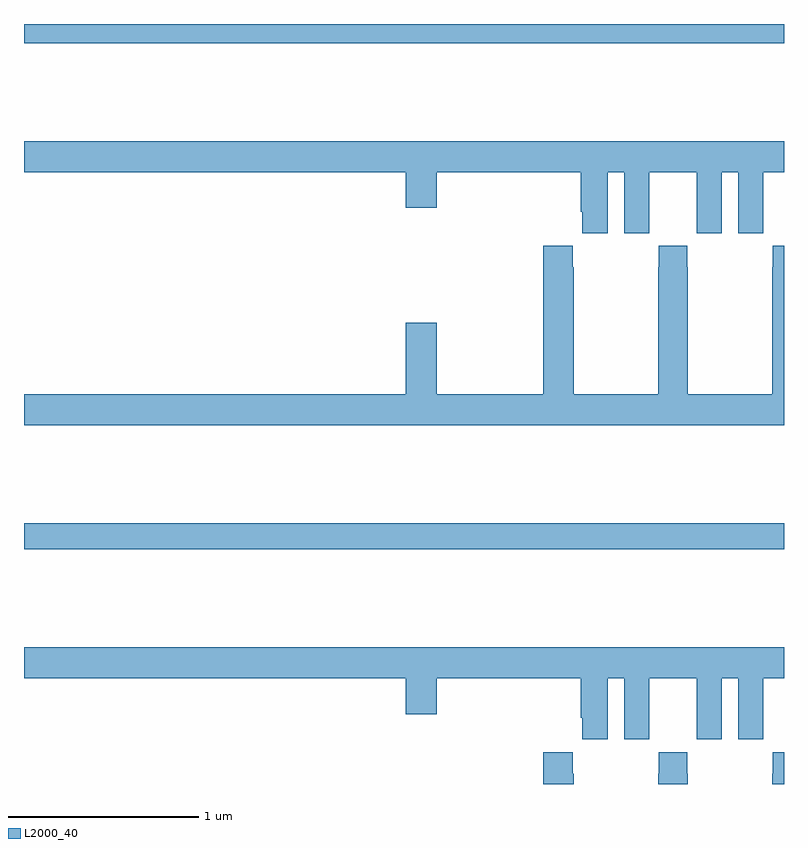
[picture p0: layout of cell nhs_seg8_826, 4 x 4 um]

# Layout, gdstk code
import gdstk
lib = gdstk.Library(unit=1e-6, precision=1e-09)
def R(c, l, rs):  # rectangles x0, y0, x1, y1
    for r in rs: c.add(gdstk.rectangle(r[:2], r[2:], *l))
def P(c, l, *ps):  # polygons
    for p in ps: c.add(gdstk.Polygon(p, *l))
L2000_40 = (2000, 40)

nhs_seg8_826 = lib.new_cell('nhs_seg8_826')
R(nhs_seg8_826, L2000_40, [(163,1161.136,167,1161.272), (163,1163.8,167,1163.9)])
P(nhs_seg8_826, L2000_40, [(166.072,1163.12),(166.16,1163.12),(166.16,1162.8),(166.29,1162.8),(166.29,1162.912),(166.291,1162.912),(166.291,1163.12),(166.541,1163.12),(166.541,1162.912),(166.542,1162.912),(166.542,1162.8),(166.672,1162.8),(166.672,1163.12),(166.76,1163.12),(166.76,1162.8),(166.89,1162.8),(166.89,1162.912),(166.891,1162.912),(166.891,1163.12),(167,1163.12),(167,1163.284),(163,1163.284),(163,1163.12),(165.008,1163.12),(165.008,1162.932),(165.172,1162.932),(165.172,1163.12),(165.929,1163.12),(165.929,1162.912),(165.938,1162.912),(165.938,1162.8),(166.072,1162.8)],
  [(167,1162.732),(166.941,1162.732),(166.941,1162.619),(166.939,1162.619),(166.939,1161.952),(166.494,1161.952),(166.494,1162.619),(166.491,1162.619),(166.491,1162.732),(166.341,1162.732),(166.341,1162.619),(166.339,1162.619),(166.339,1161.952),(165.894,1161.952),(165.894,1162.619),(165.887,1162.619),(165.887,1162.732),(165.734,1162.732),(165.734,1161.952),(165.172,1161.952),(165.172,1162.327),(165.008,1162.327),(165.008,1161.952),(163,1161.952),(163,1161.788),(167,1161.788)],
  [(163,1160.456),(165.008,1160.456),(165.008,1160.268),(165.172,1160.268),(165.172,1160.456),(165.929,1160.456),(165.929,1160.248),(165.938,1160.248),(165.938,1160.136),(166.072,1160.136),(166.072,1160.456),(166.16,1160.456),(166.16,1160.136),(166.29,1160.136),(166.29,1160.248),(166.291,1160.248),(166.291,1160.456),(166.541,1160.456),(166.541,1160.248),(166.542,1160.248),(166.542,1160.136),(166.672,1160.136),(166.672,1160.456),(166.76,1160.456),(166.76,1160.136),(166.89,1160.136),(166.89,1160.248),(166.891,1160.248),(166.891,1160.456),(167,1160.456),(167,1160.62),(163,1160.62)],
  [(165.894,1159.955),(165.887,1159.955),(165.887,1160.068),(165.734,1160.068),(165.734,1159.9),(165.894,1159.9)],
  [(166.494,1159.955),(166.491,1159.955),(166.491,1160.068),(166.341,1160.068),(166.341,1159.955),(166.339,1159.955),(166.339,1159.9),(166.494,1159.9)],
  [(167,1160.068),(166.941,1160.068),(166.941,1159.955),(166.939,1159.955),(166.939,1159.9),(167,1159.9)])

lib.write_gds('nhs_seg8_826.gds')
